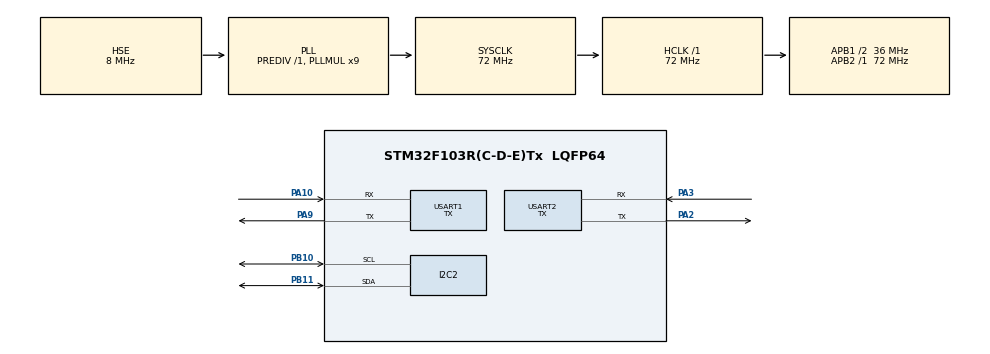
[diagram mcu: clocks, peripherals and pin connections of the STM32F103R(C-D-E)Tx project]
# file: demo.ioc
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I2C2.I2C_Mode=I2C_Standard
I2C2.NoStretchMode=I2C_NOSTRETCH_DISABLE
Mcu.Family=STM32F1
Mcu.Name=STM32F103R(C-D-E)Tx
Mcu.Package=LQFP64
NVIC.PriorityGroup=NVIC_PRIORITYGROUP_4
NVIC.USART1_IRQn=true\:0\:0\:false\:false\:true\:true\:true
PA10.Mode=Asynchronous
PA10.Signal=USART1_RX
PA13.Mode=Serial_Wire
PA13.Signal=SYS_JTMS-SWDIO
PA14.Mode=Serial_Wire
PA14.Signal=SYS_JTCK-SWCLK
PA2.Mode=Asynchronous
PA2.Signal=USART2_TX
PA3.Mode=Asynchronous
PA3.Signal=USART2_RX
PA9.Mode=Asynchronous
PA9.Signal=USART1_TX
PB10.Mode=I2C
PB10.Signal=I2C2_SCL
PB11.Mode=I2C
PB11.Signal=I2C2_SDA
PD0-OSC_IN.Mode=HSE-External-Oscillator
PD0-OSC_IN.Signal=RCC_OSC_IN
PD1-OSC_OUT.Mode=HSE-External-Oscillator
PD1-OSC_OUT.Signal=RCC_OSC_OUT
ProjectManager.HeapSize=0x200
ProjectManager.StackSize=0x400
ProjectManager.TargetToolchain=MDK-ARM V5
RCC.AHBFreq_Value=72000000
RCC.APB1CLKDivider=RCC_HCLK_DIV2
RCC.APB1Freq_Value=36000000
RCC.APB1TimFreq_Value=72000000
RCC.APB2Freq_Value=72000000
RCC.APB2TimFreq_Value=72000000
RCC.HCLKFreq_Value=72000000
RCC.PLLMUL=RCC_PLL_MUL9
RCC.PLLSourceVirtual=RCC_PLLSOURCE_HSE
RCC.SYSCLKFreq_VALUE=72000000
RCC.SYSCLKSource=RCC_SYSCLKSOURCE_PLLCLK
RCC.USBFreq_Value=72000000
USART1.Mode=MODE_TX
USART1.VirtualMode=VM_ASYNC
USART2.Mode=MODE_TX
USART2.VirtualMode=VM_ASYNC
board=custom

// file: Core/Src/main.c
/* USER CODE BEGIN Header */
/**
 ******************************************************************************
 * @file           : main.c
 * @brief          : Main program body
 ******************************************************************************
 * @attention
 *
 * <h2><center>&copy; Copyright (c) 2022 STMicroelectronics.
 * All rights reserved.</center></h2>
 *
 * This software component is licensed by ST under BSD 3-Clause license,
 * the "License"; You may not use this file except in compliance with the
 * License. You may obtain a copy of the License at:
 *                        opensource.org/licenses/BSD-3-Clause
 *
 ******************************************************************************
 */
/* USER CODE END Header */

#include "main.h"
#include "gpio.h"
#include "i2c.h"
#include "usart.h"

/* USER CODE BEGIN Includes */
#include <math.h>
#include "HMC5883L\hmc5883l.h"
/* USER CODE END Includes */

void SystemClock_Config(void);

/* USER CODE BEGIN 0 */

int16_t s16(uint8_t msb, uint8_t lsb) {
    uint16_t val = (msb << 8) | lsb;
    if (val & (1 << 15)) {
        return val - (1 << 16);
    } else {
        return val;
    }
}

/* USER CODE END 0 */

int main(void) {

    /* MCU Configuration--------------------------------------------------------*/

    /* Reset of all peripherals, Initializes the Flash interface and the Systick. */
    HAL_Init();

    /* Configure the system clock */
    SystemClock_Config();

    /* Initialize all configured peripherals */
    MX_GPIO_Init();
    MX_USART1_UART_Init();
    MX_I2C2_Init();
    MX_USART2_UART_Init();

    /* Infinite loop */
    /* USER CODE BEGIN WHILE */

    // Find yours here: http://www.magnetic-declination.com/

#if 0
    HMC5883L_WriteReg(0x00, 0x70);        // 8 Average, 15 Hz, normal measurement
    HMC5883L_WriteReg(0x01, 0b111 << 5);  // Scale = 4.35
    HMC5883L_WriteReg(0x02, 0x00);        // Continuous measurement
    while (1) {
        uint8_t mag[6] = {0};  // x,z,y
        HMC5883L_ReadBytes(0x03, mag, 6);
        int16_t x = s16(mag[0], mag[1]);
        int16_t y = s16(mag[4], mag[5]);
        int16_t z = s16(mag[2], mag[3]);
        printf("%i,%i,%i\r\n", x, y, z);
#else
    // HMC5883L_Initialize();
    // printf("is connected = %d\r\n", HMC5883L_TestConnection());  // check id
    while (1) {
        int16_t heading[3] = {0};
        HMC5883L_GetHeading(heading);
        printf("%i,%i,%i\r\n", heading[0], heading[2], heading[1]);
        // float angle = atan2(y, x) * (180 / 3.14159265) + 180;  // [0,360]
        // printf("%.2f\r\n", angle);
#endif
    HAL_Delay(100);
    /* USER CODE END WHILE */

}
}

void SystemClock_Config(void) {
    RCC_OscInitTypeDef RCC_OscInitStruct = {0};
    RCC_ClkInitTypeDef RCC_ClkInitStruct = {0};

    /** Initializes the CPU, AHB and APB busses clocks
     */
    RCC_OscInitStruct.OscillatorType = RCC_OSCILLATORTYPE_HSE;
    RCC_OscInitStruct.HSEState       = RCC_HSE_ON;
    RCC_OscInitStruct.HSEPredivValue = RCC_HSE_PREDIV_DIV1;
    RCC_OscInitStruct.HSIState       = RCC_HSI_ON;
    RCC_OscInitStruct.PLL.PLLState   = RCC_PLL_ON;
    RCC_OscInitStruct.PLL.PLLSource  = RCC_PLLSOURCE_HSE;
    RCC_OscInitStruct.PLL.PLLMUL     = RCC_PLL_MUL9;
    if (HAL_RCC_OscConfig(&RCC_OscInitStruct) != HAL_OK) {
        Error_Handler();
    }
    /** Initializes the CPU, AHB and APB busses clocks
     */
    RCC_ClkInitStruct.ClockType      = RCC_CLOCKTYPE_HCLK | RCC_CLOCKTYPE_SYSCLK | RCC_CLOCKTYPE_PCLK1 | RCC_CLOCKTYPE_PCLK2;
    RCC_ClkInitStruct.SYSCLKSource   = RCC_SYSCLKSOURCE_PLLCLK;
    RCC_ClkInitStruct.AHBCLKDivider  = RCC_SYSCLK_DIV1;
    RCC_ClkInitStruct.APB1CLKDivider = RCC_HCLK_DIV2;
    RCC_ClkInitStruct.APB2CLKDivider = RCC_HCLK_DIV1;

    if (HAL_RCC_ClockConfig(&RCC_ClkInitStruct, FLASH_LATENCY_2) != HAL_OK) {
        Error_Handler();
    }
}

void Error_Handler(void) {
}

/************************ (C) COPYRIGHT STMicroelectronics *****END OF FILE****/
